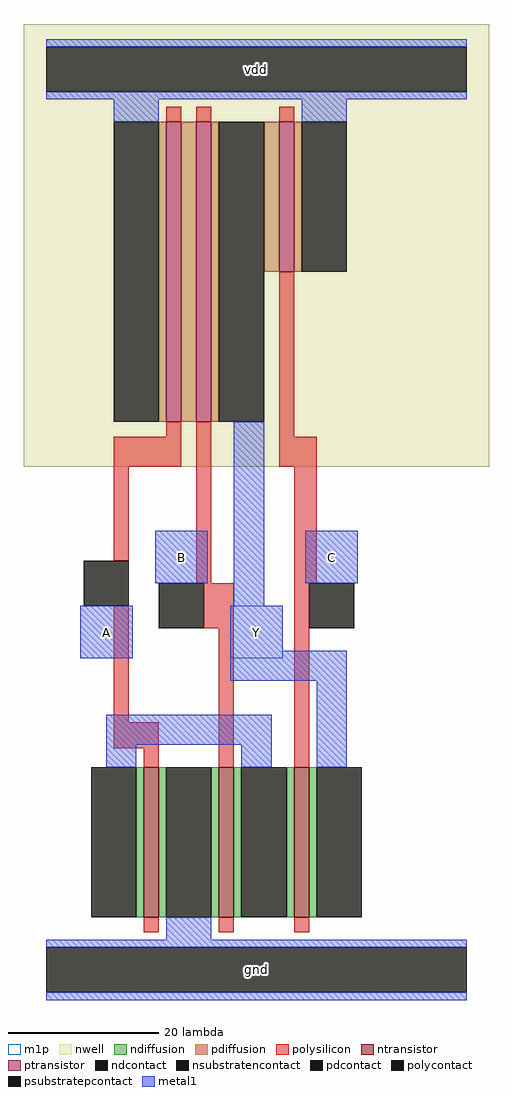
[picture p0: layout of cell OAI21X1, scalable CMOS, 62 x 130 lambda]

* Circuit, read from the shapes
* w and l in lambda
.subckt OAI21X1 A B C Y vdd gnd
M1 gnd A n1 gnd nfet w=20 l=2
M2 n1 B gnd gnd nfet w=20 l=2
M3 Y C n1 gnd nfet w=20 l=2
M4 n2 A vdd vdd pfet w=40 l=2
M5 Y B n2 vdd pfet w=40 l=2
M6 vdd C Y vdd pfet w=20 l=2
.ends

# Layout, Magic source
magic
tech scmos
magscale 1 2
<< nwell >>
rect -12 134 112 252
<< ntransistor >>
rect 20 14 24 54
rect 40 14 44 54
rect 60 14 64 54
<< ptransistor >>
rect 26 146 30 226
rect 34 146 38 226
rect 56 186 60 226
<< ndiffusion >>
rect 18 14 20 54
rect 24 14 26 54
rect 38 14 40 54
rect 44 14 46 54
rect 58 14 60 54
rect 64 14 66 54
<< pdiffusion >>
rect 24 146 26 226
rect 30 146 34 226
rect 38 146 40 226
rect 52 186 56 226
rect 60 186 62 226
<< ndcontact >>
rect 6 14 18 54
rect 26 14 38 54
rect 46 14 58 54
rect 66 14 78 54
<< pdcontact >>
rect 12 146 24 226
rect 40 146 52 226
rect 62 186 74 226
<< psubstratepcontact >>
rect -6 -6 106 6
<< nsubstratencontact >>
rect -6 234 106 246
<< polysilicon >>
rect 26 226 30 230
rect 34 226 38 230
rect 56 226 60 230
rect 26 142 30 146
rect 12 134 30 142
rect 12 109 16 134
rect 34 103 38 146
rect 56 142 60 186
rect 56 134 66 142
rect 60 103 66 134
rect 12 66 16 97
rect 36 91 44 103
rect 12 59 24 66
rect 20 54 24 59
rect 40 54 44 91
rect 60 54 64 103
rect 20 10 24 14
rect 40 10 44 14
rect 60 10 64 14
<< polycontact >>
rect 4 97 16 109
rect 24 91 36 103
rect 64 91 76 103
<< metal1 >>
rect -6 246 106 248
rect -6 232 106 234
rect 12 226 24 232
rect 62 226 74 232
rect 23 103 37 117
rect 3 83 17 97
rect 44 97 52 146
rect 63 103 77 117
rect 43 85 57 97
rect 43 77 74 85
rect 10 60 54 68
rect 10 54 18 60
rect 46 54 54 60
rect 66 54 74 77
rect 26 8 38 14
rect -6 6 106 8
rect -6 -8 106 -6
<< m1p >>
rect 23 103 37 117
rect 63 103 77 117
rect 3 83 17 97
rect 43 83 57 97
<< labels >>
rlabel metal1 -6 -8 106 8 0 gnd
port 5 nsew ground bidirectional abutment
rlabel metal1 3 83 17 97 0 A
port 0 nsew signal input
rlabel metal1 43 83 57 97 0 Y
port 3 nsew signal output
rlabel metal1 23 103 37 117 0 B
port 1 nsew signal input
rlabel metal1 63 103 77 117 0 C
port 2 nsew signal input
rlabel metal1 -6 232 106 248 0 vdd
port 4 nsew power bidirectional abutment
<< properties >>
string FIXED_BBOX 0 0 100 240
string LEFclass CORE
string LEFsite core
string LEFsymmetry X Y
<< end >>
